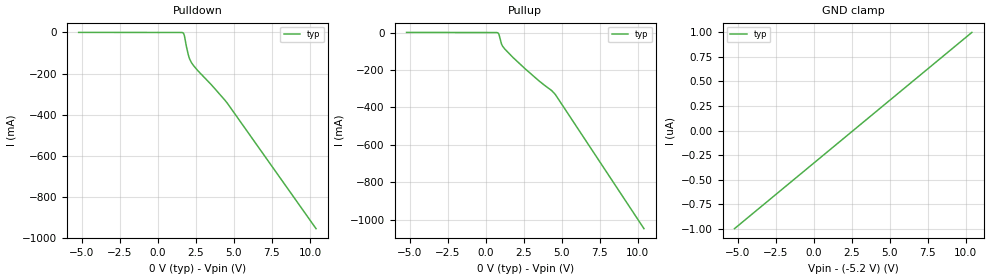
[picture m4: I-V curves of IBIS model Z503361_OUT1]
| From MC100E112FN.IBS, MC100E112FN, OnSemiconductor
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| (C) COPYRIGHT 1993-2000
| MENTOR GRAPHICS CORPORATION
| ICX STANDARD LIBRARY, ICX PROJECT MODELING,
| ICX CUSTOM MODELING, ICX VENDOR MODEL
| ALL RIGHTS RESERVED.
| THE FOLLOWING ARE TRADEMARKS OR SERVICE MARKS OF
| MENTOR GRAPHICS CORPORATION:ICX (R), ICX STANDARD
| LIBRARY(R), ICX PROJECT MODELING(R), ICX CUSTOM
| MODELING(R), qualityIBIS(TM), MODELVIEWER(TM),
| AND MODELEDITOR(TM)
| ALL COPIES OF SOFTWARE, INCLUDING BUT NOT LIMITED TO
| ANY MODIFICATIONS, ENHANCEMENTS OR DERIVATIVE WORKS,
| MUST CONTAIN ALL MENTOR GRAPHICS CORPORATION'S
| NOTICES AND LEGENDS, INCLUDING THOSE EMBEDDED IN
| SOFTWARE AND THOSE AFFIXED TO SOFTWARE MEDIUM
| AND CONTAINER, AS RECEIVED FROM MENTOR GRAPHICS
| CORPORATION.
| Model Application Version 1.89 2/18/99.
[Model] Z503361_OUT1
Model_type Output_ECL
Vref=-2.000V
Rref=50.00ohms
Cref=0.000F
Vmeas=-1.320V
C_comp 8.000pF NA NA
| variable typ   min   max
[Voltage Range] -5.200V NA NA
[POWER Clamp Reference] 0.000V NA NA
[Pullup Reference] 0.000V NA NA
[Pulldown Reference] 0.000V NA NA
[GND Clamp Reference] -5.200V NA NA
[GND Clamp]
-5.2V     -1uA       NA         NA
10.4V     1uA        NA         NA
[Pulldown]
-5.2V     433.4uA    NA         NA
1.663V    -1.949mA   NA         NA
1.748V    -15.36mA   NA         NA
1.885V    -69.45mA   NA         NA
2.004V    -108mA     NA         NA
2.085V    -127.7mA   NA         NA
2.203V    -145.5mA   NA         NA
2.618V    -184.7mA   NA         NA
3.506V    -253mA     NA         NA
4.566V    -343.4mA   NA         NA
10.4V     -953.8mA   NA         NA
[Pullup]
-5.2V     672.4uA    NA         NA
805.7mV   -1.869mA   NA         NA
874mV     -10.7mA    NA         NA
1.037V    -60.94mA   NA         NA
1.248V    -87.6mA    NA         NA
2.608V    -195mA     NA         NA
3.516V    -259.4mA   NA         NA
4.285V    -306.9mA   NA         NA
4.58V     -331.6mA   NA         NA
10.4V     -1.048A    NA         NA
[POWER Clamp]
-5.2V     0A         NA         NA
10.4V     0A         NA         NA
[Ramp]
| variable typ min max
dV/dt_r 491.0m/337.6p NA NA
dV/dt_f 491.0m/234.4p NA NA
R_load = 500.0Ohms
